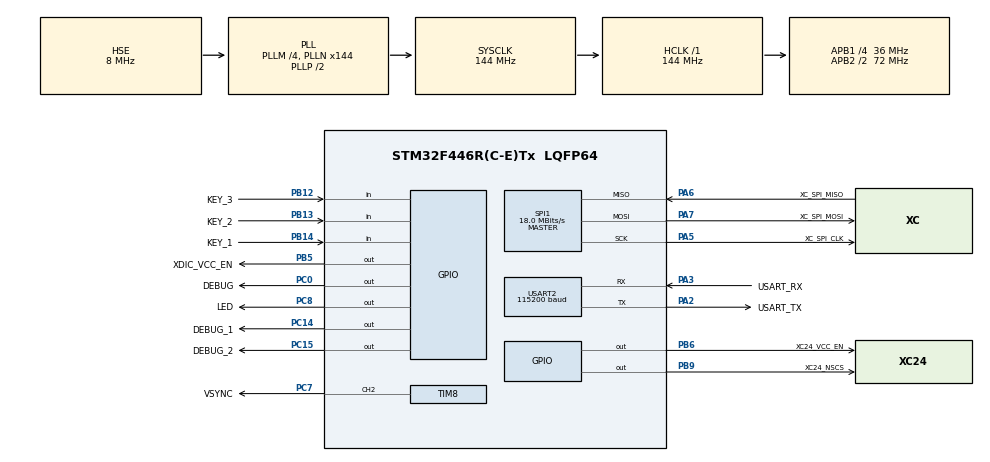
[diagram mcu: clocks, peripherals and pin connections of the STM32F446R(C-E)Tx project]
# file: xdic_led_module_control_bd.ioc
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Dma.Request0=USART2_TX
Dma.Request1=USART2_RX
Dma.USART2_RX.1.Direction=DMA_PERIPH_TO_MEMORY
Dma.USART2_RX.1.FIFOMode=DMA_FIFOMODE_DISABLE
Dma.USART2_RX.1.Instance=DMA1_Stream5
Dma.USART2_RX.1.MemDataAlignment=DMA_MDATAALIGN_BYTE
Dma.USART2_RX.1.MemInc=DMA_MINC_ENABLE
Dma.USART2_RX.1.Mode=DMA_NORMAL
Dma.USART2_RX.1.PeriphDataAlignment=DMA_PDATAALIGN_BYTE
Dma.USART2_RX.1.PeriphInc=DMA_PINC_DISABLE
Dma.USART2_RX.1.Priority=DMA_PRIORITY_LOW
Dma.USART2_TX.0.Direction=DMA_MEMORY_TO_PERIPH
Dma.USART2_TX.0.FIFOMode=DMA_FIFOMODE_DISABLE
Dma.USART2_TX.0.Instance=DMA1_Stream6
Dma.USART2_TX.0.MemDataAlignment=DMA_MDATAALIGN_BYTE
Dma.USART2_TX.0.MemInc=DMA_MINC_ENABLE
Dma.USART2_TX.0.Mode=DMA_NORMAL
Dma.USART2_TX.0.PeriphDataAlignment=DMA_PDATAALIGN_BYTE
Dma.USART2_TX.0.PeriphInc=DMA_PINC_DISABLE
Dma.USART2_TX.0.Priority=DMA_PRIORITY_LOW
Mcu.Family=STM32F4
Mcu.Name=STM32F446R(C-E)Tx
Mcu.Package=LQFP64
NVIC.DMA1_Stream5_IRQn=true\:0\:0\:false\:false\:true\:false\:true\:true
NVIC.DMA1_Stream6_IRQn=true\:0\:0\:false\:false\:true\:false\:true\:true
NVIC.PriorityGroup=NVIC_PRIORITYGROUP_4
NVIC.TIM8_UP_TIM13_IRQn=true\:0\:0\:false\:false\:true\:true\:true\:true
NVIC.USART2_IRQn=true\:1\:0\:true\:false\:true\:true\:true\:true
PA13.GPIO_Label=TMS
PA13.Mode=Serial_Wire
PA13.Signal=SYS_JTMS-SWDIO
PA14.GPIO_Label=TCK
PA14.Mode=Serial_Wire
PA14.Signal=SYS_JTCK-SWCLK
PA2.GPIO_Label=USART_TX
PA2.Mode=Asynchronous
PA2.Signal=USART2_TX
PA3.GPIO_Label=USART_RX
PA3.Mode=Asynchronous
PA3.Signal=USART2_RX
PA5.GPIO_Label=XC_SPI_CLK
PA5.Mode=Full_Duplex_Master
PA5.Signal=SPI1_SCK
PA6.GPIO_Label=XC_SPI_MISO
PA6.Mode=Full_Duplex_Master
PA6.Signal=SPI1_MISO
PA7.GPIO_Label=XC_SPI_MOSI
PA7.Mode=Full_Duplex_Master
PA7.Signal=SPI1_MOSI
PB12.GPIO_Label=KEY_3
PB12.Signal=GPIO_Input
PB13.GPIO_Label=KEY_2
PB13.Signal=GPIO_Input
PB14.GPIO_Label=KEY_1
PB14.Signal=GPIO_Input
PB5.GPIO_Label=XDIC_VCC_EN
PB5.GPIO_Speed=GPIO_SPEED_FREQ_VERY_HIGH
PB5.PinState=GPIO_PIN_SET
PB5.Signal=GPIO_Output
PB6.GPIO_Label=XC24_VCC_EN
PB6.Signal=GPIO_Output
PB9.GPIO_Label=XC24_NSCS
PB9.GPIO_Speed=GPIO_SPEED_FREQ_VERY_HIGH
PB9.Signal=GPIO_Output
PC0.GPIO_Label=DEBUG
PC0.Signal=GPIO_Output
PC14-OSC32_IN.GPIO_Label=DEBUG_1
PC14-OSC32_IN.Signal=GPIO_Output
PC15-OSC32_OUT.GPIO_Label=DEBUG_2
PC15-OSC32_OUT.Signal=GPIO_Output
PC7.GPIO_Label=VSYNC
PC7.Signal=S_TIM8_CH2
PC8.GPIO_Label=LED
PC8.PinState=GPIO_PIN_SET
PC8.Signal=GPIO_Output
PH0-OSC_IN.Mode=HSE-External-Oscillator
PH0-OSC_IN.Signal=RCC_OSC_IN
PH1-OSC_OUT.Mode=HSE-External-Oscillator
PH1-OSC_OUT.Signal=RCC_OSC_OUT
ProjectManager.HeapSize=0x200
ProjectManager.StackSize=0x800
ProjectManager.TargetToolchain=EWARM V8.32
RCC.48MHZClocksFreq_Value=84000000
RCC.AHBFreq_Value=144000000
RCC.APB1CLKDivider=RCC_HCLK_DIV4
RCC.APB1Freq_Value=36000000
RCC.APB1TimFreq_Value=72000000
RCC.APB2CLKDivider=RCC_HCLK_DIV2
RCC.APB2Freq_Value=72000000
RCC.APB2TimFreq_Value=144000000
RCC.CortexFreq_Value=144000000
RCC.FLatency-AdvancedSettings=FLASH_LATENCY_4
RCC.HCLKFreq_Value=144000000
RCC.HSE_VALUE=8000000
RCC.HSI_VALUE=16000000
RCC.PLLI2SM=8
RCC.PLLI2SN=400
RCC.PLLI2SR=5
RCC.PLLM=4
RCC.PLLN=144
RCC.PLLSourceVirtual=RCC_PLLSOURCE_HSE
RCC.RCC_MCO1Source=RCC_MCO1SOURCE_PLLCLK
RCC.RCC_MCO2Source=RCC_MCO2SOURCE_PLLI2SCLK
RCC.RCC_MCODiv2=RCC_MCODIV_5
RCC.SYSCLKFreq_VALUE=144000000
RCC.SYSCLKSource=RCC_SYSCLKSOURCE_PLLCLK
RCC.USBFreq_Value=144000000
RCC.VCOOutputFreq_Value=288000000
SH.S_TIM8_CH2.0=TIM8_CH2,PWM Generation2 CH2
SPI1.BaudRatePrescaler=SPI_BAUDRATEPRESCALER_4
SPI1.CLKPhase=SPI_PHASE_2EDGE
SPI1.CalculateBaudRate=18.0 MBits/s
SPI1.DataSize=SPI_DATASIZE_16BIT
SPI1.Direction=SPI_DIRECTION_2LINES
SPI1.Mode=SPI_MODE_MASTER
SPI1.VirtualType=VM_MASTER
TIM12.AutoReloadPreload=TIM_AUTORELOAD_PRELOAD_ENABLE
TIM12.ClockDivision=TIM_CLOCKDIVISION_DIV1
TIM12.Period=65535
TIM12.Prescaler=71
TIM8.AutomaticOutput=TIM_AUTOMATICOUTPUT_ENABLE
TIM8.Channel-PWM\ Generation2\ CH2=TIM_CHANNEL_2
TIM8.Period=39999
TIM8.Prescaler=29
TIM8.Pulse-PWM\ Generation2\ CH2=500
USART2.BaudRate=115200
USART2.VirtualMode=VM_ASYNC
VP_TIM12_VS_ClockSourceINT.Mode=Internal
VP_TIM8_VS_ClockSourceINT.Mode=Internal
board=NUCLEO-F446RE

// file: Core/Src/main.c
/* USER CODE BEGIN Header */
/**
  ******************************************************************************
  * @file           : main.c
  * @brief          : Main program body
  ******************************************************************************
  * @attention
  *
  * <h2><center>&copy; Copyright (c) 2021 STMicroelectronics.
  * All rights reserved.</center></h2>
  *
  * This software component is licensed by ST under Ultimate Liberty license
  * SLA0044, the "License"; You may not use this file except in compliance with
  * the License. You may obtain a copy of the License at:
  *                             www.st.com/SLA0044
  *
  ******************************************************************************
  */
#define __XDIC_MAIN_C__
#include <stdint.h>
/* USER CODE END Header */
#include "main.h"

/* USER CODE BEGIN Includes */
#include "config.h"
#include "xdic.h"
#include "xc24.h"
#include "vsync_task.h"
/* USER CODE END Includes */

/* USER CODE BEGIN PD */

#define CLI_KEY_BACK        (0x08U)
#define CLI_KEY_DEL         (0x7FU)
#define CLI_KEY_ENTER       (0x0DU)
#define CLI_KEY_ESC         (0x1BU)
#define CLI_KEY_LEFT        (0x44U)
#define CLI_KEY_RIGHT       (0x43U)
#define CLI_KEY_UP          (0x41U)
#define CLI_KEY_DOWN        (0x42U)
#define CLI_KEY_HOME        (0x31U)
#define CLI_KEY_END         (0x34U)

#define PRINT_BUFF_SIZE     256U
#define RX_BUFF_SIZE        256U // must be 2^n
#define RX_PACKET_SIZE      32U  // must be 2^n

#define RX_TIMEOUT_MS       20U

#define VA_GENERIC(_1, _2, _3, _4, _5, _6,x, ...) x
#define Command_Param_is_(a, b, ...)  (sscanf(str_in, a b, ##__VA_ARGS__)==VA_GENERIC(__VA_ARGS__, 6, 5, 4, 3, 2, 1))
#define Command_is_(x)                (strncmp(str_in, x, strlen(x)) == 0)

#define FATAL_INVALID_INPUT(val)      print(LOG_PC, "\r\nFunction[%s] invalid input (%u)", __func__, (val))

typedef enum tag_KEY_LIST
{
    KEY_1 = 0U,
    KEY_2,
    KEY_3,
    KEY_MAX,
} key_list_t;

/* USER CODE END PD */

/* USER CODE BEGIN PV */

typedef struct tag_RX_PACKET
{
    uint8_t length;
    char buffer[RX_PACKET_SIZE];
} rx_packet_t;

typedef struct tag_RING_BUFFER
{
    uint16_t head;
    uint16_t tail;
    rx_packet_t buffer[RX_BUFF_SIZE];
  } ring_buffer_t;

static ring_buffer_t gt_ring_buffer;
static rx_packet_t gt_last_uart_rx;

typedef void (*func_t)(void);

typedef struct tag_KEY_INFO
{
    uint32_t now_state;
    uint32_t prev_state;
    uint8_t press_cnt;
    uint8_t odd_even;
    func_t function[2];
} key_info_t;

static LOG_LV_T gt_log_lv = LOG_PC;

static uint8_t gn_uart_rx_timeout;

GPIO_TypeDef* key_gpio_port[KEY_MAX] = { KEY_1_GPIO_Port, KEY_2_GPIO_Port, KEY_3_GPIO_Port };
const uint32_t key_gpio_pin[KEY_MAX] = { KEY_1_Pin,       KEY_2_Pin,       KEY_3_Pin       };
static key_info_t gt_key_info[KEY_MAX];
static uint8_t gn_key_task_tick;
static const char* const gp_msg_prompt = "\n\rJIG> \0";
static const char* const gp_msg_what = "\n\r    What?";
/* USER CODE END PV */

void SystemClock_Config(void);
static void MX_GPIO_Init(void);
static void MX_DMA_Init(void);
static void MX_USART2_UART_Init(void);
static void MX_TIM12_Init(void);
static void MX_SPI1_Init(void);
static void MX_TIM8_Init(void);
/* USER CODE BEGIN PFP */
static void Uart_Task(void);
static void Key_Task(void);
static void Key_Init(void);
/* USER CODE END PFP */

/* USER CODE BEGIN 0 */

void us_delay(uint16_t us_delay)
{
    LL_TIM_EnableCounter(TIM12);
    while(LL_TIM_GetCounter(TIM12) < us_delay)
    {
    }
    LL_TIM_DisableCounter(TIM12);
    LL_TIM_SetCounter(TIM12, 0U);
}

void sys_tick_handler(void)
{
    if (gn_xc_spi_timeout)
    {
        --gn_xc_spi_timeout;
    }
    if (gn_uart_rx_timeout)
    {
        --gn_uart_rx_timeout;
    }
    if (gn_key_task_tick)
    {
        --gn_key_task_tick;
    }
}

void print(LOG_LV_T log_lv, const char *fmt, ...)
{
    if (log_lv >= gt_log_lv)
    {
        int len = 0;
        char msg_buffer[PRINT_BUFF_SIZE] = { 0 };

        if (log_lv > gt_log_lv)
        {
            char temp_buffer[PRINT_BUFF_SIZE] = { 0 };
            snprintf(temp_buffer, PRINT_BUFF_SIZE - 1U, "%s%s%s", ANSI_FONT_RED, fmt, ANSI_FONT_NONE);
            fmt = temp_buffer;
        }

        va_list ap;
        va_start(ap, fmt);
        len = vsnprintf(msg_buffer, (PRINT_BUFF_SIZE - 1U), fmt, ap);
        va_end(ap);

        for (int i = 0 ; i < len ; ++i)
        {
            /* Loop until the end of transmission */
            while (RESET == LL_USART_IsActiveFlag_TXE(USART2));
            /* Echo received character on TX */
            LL_USART_TransmitData8(USART2, (uint8_t)msg_buffer[i]);
        }
    }
}

void Comm_Init(void)
{
    print(LOG_PC, "\n\r--------------------------------------");
    print(LOG_PC, "\n\r   [GT LED Module Control BD]");
    print(LOG_PC, "\n\r--------------------------------------");
    print(LOG_PC, "\n\r - Author: xxx@glbltech.com");
    print(LOG_PC, "\n\r - Build : %s", __DATE__);
    print(LOG_PC, "\n\r--------------------------------------\r\n");
    print(LOG_PC, "%s", gp_msg_prompt);
}

void Comm_Help(void)
{
    print(LOG_PC, "\n\r    help, ? - Show this help message.");
    print(LOG_PC, "\n\r    reset   - Reset the system.\r\n");

    print(LOG_PC, "\n\r    blk     - Set block LD value.");
    print(LOG_PC, "\n\r              Usage: blk <block_num (0: All, 1~32: each)> <ld_value (0 ~ 4095)>)\r\n");

    print(LOG_PC, "\n\r    current - Set max current, ANA will be updated as current automatically.");
    print(LOG_PC, "\n\r              Usage: current <value (0 ~ 128)>\r\n");

    print(LOG_PC, "\n\r    pattern - Set LED pattern.");
    print(LOG_PC, "\n\r              Usage: pattern <pattern_num (0 ~ 3)>\r\n");
    print(LOG_PC, "%s", gp_msg_prompt);
}

__STATIC_INLINE void UART_PutChar(uint8_t data)
{
    /* Echo received character on TX */
    LL_USART_TransmitData8(USART2, (uint8_t)data);
    /* Loop until the end of transmission */
    while (RESET == LL_USART_IsActiveFlag_TXE(USART2));
}

void comm_rx_push(uint8_t rx)
{
    UART_PutChar(rx); /* echo back */

    switch(rx)
    {
        case '\n':
        case '\r':
        {
            if(gt_ring_buffer.buffer[gt_ring_buffer.head].length < (RX_PACKET_SIZE - 1))
            {
                gt_ring_buffer.buffer[gt_ring_buffer.head].buffer[gt_ring_buffer.buffer[gt_ring_buffer.head].length] = 0;
            }
            else
            {
                gt_ring_buffer.buffer[gt_ring_buffer.head].buffer[(RX_PACKET_SIZE - 1)] = 0;
            }
            memcpy(gt_last_uart_rx.buffer, gt_ring_buffer.buffer[gt_ring_buffer.head].buffer, sizeof(gt_ring_buffer.buffer[gt_ring_buffer.head].buffer));
            gt_last_uart_rx.length = gt_ring_buffer.buffer[gt_ring_buffer.head].length;

            ++gt_ring_buffer.head;
            if(gt_ring_buffer.head > (RX_BUFF_SIZE -1))
            {
                gt_ring_buffer.head = 0;
            }
            break;
        }
        case CLI_KEY_BACK:
        case CLI_KEY_DEL:
        {
            if(gt_ring_buffer.buffer[gt_ring_buffer.head].length)
            {
                //UART_PutChar(CLI_KEY_BACK);
                UART_PutChar(' ');
                UART_PutChar(CLI_KEY_BACK);

                --gt_ring_buffer.buffer[gt_ring_buffer.head].length;
            }
            break;
        }
        default:
        {
            if((rx == CLI_KEY_UP) && (gt_ring_buffer.buffer[gt_ring_buffer.head].length >= 2U) && (gt_ring_buffer.buffer[gt_ring_buffer.head].buffer[gt_ring_buffer.buffer[gt_ring_buffer.head].length - 2] == 0x1BU) && (gt_ring_buffer.buffer[gt_ring_buffer.head].buffer[gt_ring_buffer.buffer[gt_ring_buffer.head].length - 1] == 0x5BU))
            {
                UART_PutChar('\n');
                //UART_PutChar('\r');
                memcpy(gt_ring_buffer.buffer[gt_ring_buffer.head].buffer, gt_last_uart_rx.buffer, sizeof(gt_last_uart_rx.buffer));
                gt_ring_buffer.buffer[gt_ring_buffer.head].length = gt_last_uart_rx.length;
                for (uint8_t i = 0; i < gt_ring_buffer.buffer[gt_ring_buffer.head].length; ++i)
                {
                    UART_PutChar(gt_ring_buffer.buffer[gt_ring_buffer.head].buffer[i]);
                }
            }
            else
            {
                if(gt_ring_buffer.buffer[gt_ring_buffer.head].length < (RX_PACKET_SIZE - 1U))
                {
                    gt_ring_buffer.buffer[gt_ring_buffer.head].buffer[gt_ring_buffer.buffer[gt_ring_buffer.head].length] = rx;
                    ++gt_ring_buffer.buffer[gt_ring_buffer.head].length;
                }
            }
            break;
        }
    }
}

static uint8_t comm_get_rx_packet(rx_packet_t* p_packet)
{
    uint8_t ret = 0U;

    if (gt_ring_buffer.head != gt_ring_buffer.tail)
    {
        *p_packet = *(rx_packet_t*)(gt_ring_buffer.buffer + gt_ring_buffer.tail);

        ++gt_ring_buffer.tail;
        if(gt_ring_buffer.tail > (RX_BUFF_SIZE -1))
        {
            gt_ring_buffer.tail = 0;
        }

        ret = 1;
    }

    return ret;
}

static void Uart_Task(void)
{
    rx_packet_t* p_packet = (rx_packet_t*)(gt_ring_buffer.buffer + gt_ring_buffer.tail);

    if (comm_get_rx_packet(p_packet))
    {
        char str_in[RX_PACKET_SIZE + 1U] = {0, };
        uint32_t u32_recv_param[6] = {0, };
        //double lf_recv_param[6] = {0, };

        memcpy(str_in, p_packet->buffer, p_packet->length);
        p_packet->length = 0U;

        if(Command_is_("help") || Command_is_("?"))
        {
            Comm_Help();
            print(LOG_PC, "%s", gp_msg_prompt);
        }
        else if(Command_Param_is_("blk", "%u %u", &u32_recv_param[0], &u32_recv_param[1]))
        {
            if (u32_recv_param[0] <= TOTAL_BLOCK_SIZE)
            {
                uint8_t led_pat = LED_Get_Pattern();
                if (PATTERN_NONE == led_pat)
                {
                    LED_BLK_Set_LD((uint8_t)u32_recv_param[0], (uint16_t)u32_recv_param[1]);
                }
                else
                {
                    print(LOG_PC, "\r\n    This command is valid on pattern none");

                }
            }
            else
            {
                FATAL_INVALID_INPUT(u32_recv_param[0]);
            }
            print(LOG_PC, "%s", gp_msg_prompt);
        }
        else if(Command_Param_is_("current", "%u", &u32_recv_param[0]))
        {
            if (u32_recv_param[0] <= 128U)
            {
                LED_Current_Select((float)u32_recv_param[0]);
            }
            else
            {
                FATAL_INVALID_INPUT(u32_recv_param[0]);
            }
            print(LOG_PC, "%s", gp_msg_prompt);
        }
        else if(Command_Param_is_("pattern", "%u", &u32_recv_param[0]))
        {
            if (u32_recv_param[0] < PATTERN_MAX)
            {
                LED_Change_Pattern((uint8_t)u32_recv_param[0]);
            }
            else
            {
                FATAL_INVALID_INPUT(u32_recv_param[0]);
            }
            print(LOG_PC, "%s", gp_msg_prompt);
        }
        else if(!(strcmp(str_in, "reset")))
        {
            NVIC_SystemReset();
        }
        else
        {
            print(LOG_PC, "%s", gp_msg_what);
            print(LOG_PC, "%s", gp_msg_prompt);
        }
    }
}

static void Key_Init(void)
{
    for (key_list_t key_list = KEY_1 ; key_list < KEY_MAX ; ++key_list)
    {
        gt_key_info[key_list].now_state = LL_GPIO_IsInputPinSet(key_gpio_port[key_list], key_gpio_pin[key_list]);
        gt_key_info[key_list].prev_state = gt_key_info[key_list].now_state;
        gt_key_info[key_list].press_cnt = 0U;
        gt_key_info[key_list].odd_even = 0U;
    }

    gt_key_info[KEY_1].function[0] = LED_Change_Pattern_to_P1;
    gt_key_info[KEY_1].function[1] = LED_Change_Pattern_to_None;

    gt_key_info[KEY_2].function[0] = LED_Change_Pattern_to_P2;
    gt_key_info[KEY_2].function[1] = LED_Change_Pattern_to_None;

    gt_key_info[KEY_3].function[0] = LED_Change_Pattern_to_P3;
    gt_key_info[KEY_3].function[1] = LED_Change_Pattern_to_None;
}

static void Key_Task(void)
{
    if (gn_key_task_tick == 0U)
    {
        for (key_list_t key_list = KEY_1 ; key_list < KEY_MAX ; ++key_list)
        {
            gt_key_info[key_list].now_state = LL_GPIO_IsInputPinSet(key_gpio_port[key_list], key_gpio_pin[key_list]);

            if (gt_key_info[key_list].now_state != gt_key_info[key_list].prev_state)
            {
                if (gt_key_info[key_list].now_state == 0U)
                {
                    print(LOG_PC, "\r\nKEY_%u Pressed !!", key_list + 1U);
                }
                else
                {
                    print(LOG_PC, "\r\nKEY_%u Released !!", key_list + 1U);
                    if (gt_key_info[key_list].press_cnt >= 10U) // 100ms at least
                    {
                        print(LOG_PC, "\r\nKEY_%u Action !!", key_list + 1U);
                        if (gt_key_info[key_list].function[gt_key_info[key_list].odd_even] != NULL)
                        {
                            gt_key_info[key_list].function[gt_key_info[key_list].odd_even]();
                        }
                        gt_key_info[key_list].odd_even ^= 1U;
                    }
                    gt_key_info[key_list].press_cnt = 0U;
                }
                gt_key_info[key_list].prev_state = gt_key_info[key_list].now_state;
            }
            else
            {
                if (gt_key_info[key_list].now_state == 0U)
                {
                    ++gt_key_info[key_list].press_cnt;
                }
                else
                {
                    // Do nothing
                }
            }
        }
        gn_key_task_tick = 10U; // 10ms
    }
}
/* USER CODE END 0 */

int main(void)
{

  /* MCU Configuration--------------------------------------------------------*/

  /* Reset of all peripherals, Initializes the Flash interface and the Systick. */
  HAL_Init();

  /* Configure the system clock */
  SystemClock_Config();

  /* Initialize all configured peripherals */
  MX_GPIO_Init();
  MX_DMA_Init();
  MX_USART2_UART_Init();
  MX_TIM12_Init();
  MX_SPI1_Init();
  MX_TIM8_Init();
  /* USER CODE BEGIN 2 */

    Key_Init();
    Comm_Init();
    LED_System_Init();

    print(LOG_PC, "%s", gp_msg_prompt);

  /* USER CODE END 2 */

  /* Infinite loop */
  while (1)
  {

    /* USER CODE BEGIN 3 */
    Uart_Task();
    Key_Task();
    Vsync_Task();
  }
  /* USER CODE END 3 */
}

void SystemClock_Config(void)
{
  RCC_OscInitTypeDef RCC_OscInitStruct = {0};
  RCC_ClkInitTypeDef RCC_ClkInitStruct = {0};

  /** Configure the main internal regulator output voltage
  */
  __HAL_RCC_PWR_CLK_ENABLE();
  __HAL_PWR_VOLTAGESCALING_CONFIG(PWR_REGULATOR_VOLTAGE_SCALE1);

  /** Initializes the RCC Oscillators according to the specified parameters
  * in the RCC_OscInitTypeDef structure.
  */
  RCC_OscInitStruct.OscillatorType = RCC_OSCILLATORTYPE_HSE;
  RCC_OscInitStruct.HSEState = RCC_HSE_ON;
  RCC_OscInitStruct.PLL.PLLState = RCC_PLL_ON;
  RCC_OscInitStruct.PLL.PLLSource = RCC_PLLSOURCE_HSE;
  RCC_OscInitStruct.PLL.PLLM = 4;
  RCC_OscInitStruct.PLL.PLLN = 144;
  RCC_OscInitStruct.PLL.PLLP = RCC_PLLP_DIV2;
  RCC_OscInitStruct.PLL.PLLQ = 2;
  RCC_OscInitStruct.PLL.PLLR = 2;
  if (HAL_RCC_OscConfig(&RCC_OscInitStruct) != HAL_OK)
  {
    Error_Handler();
  }

  /** Initializes the CPU, AHB and APB buses clocks
  */
  RCC_ClkInitStruct.ClockType = RCC_CLOCKTYPE_HCLK|RCC_CLOCKTYPE_SYSCLK
                              |RCC_CLOCKTYPE_PCLK1|RCC_CLOCKTYPE_PCLK2;
  RCC_ClkInitStruct.SYSCLKSource = RCC_SYSCLKSOURCE_PLLCLK;
  RCC_ClkInitStruct.AHBCLKDivider = RCC_SYSCLK_DIV1;
  RCC_ClkInitStruct.APB1CLKDivider = RCC_HCLK_DIV4;
  RCC_ClkInitStruct.APB2CLKDivider = RCC_HCLK_DIV2;

  if (HAL_RCC_ClockConfig(&RCC_ClkInitStruct, FLASH_LATENCY_4) != HAL_OK)
  {
    Error_Handler();
  }
}

static void MX_SPI1_Init(void)
{

  LL_SPI_InitTypeDef SPI_InitStruct = {0};

  LL_GPIO_InitTypeDef GPIO_InitStruct = {0};

  /* Peripheral clock enable */
  LL_APB2_GRP1_EnableClock(LL_APB2_GRP1_PERIPH_SPI1);

  LL_AHB1_GRP1_EnableClock(LL_AHB1_GRP1_PERIPH_GPIOA);
  /**SPI1 GPIO Configuration
  PA5   ------> SPI1_SCK
  PA6   ------> SPI1_MISO
  PA7   ------> SPI1_MOSI
  */
  GPIO_InitStruct.Pin = XC_SPI_CLK_Pin|XC_SPI_MISO_Pin|XC_SPI_MOSI_Pin;
  GPIO_InitStruct.Mode = LL_GPIO_MODE_ALTERNATE;
  GPIO_InitStruct.Speed = LL_GPIO_SPEED_FREQ_VERY_HIGH;
  GPIO_InitStruct.OutputType = LL_GPIO_OUTPUT_PUSHPULL;
  GPIO_InitStruct.Pull = LL_GPIO_PULL_NO;
  GPIO_InitStruct.Alternate = LL_GPIO_AF_5;
  LL_GPIO_Init(GPIOA, &GPIO_InitStruct);

  /* SPI1 parameter configuration*/
  SPI_InitStruct.TransferDirection = LL_SPI_FULL_DUPLEX;
  SPI_InitStruct.Mode = LL_SPI_MODE_MASTER;
  SPI_InitStruct.DataWidth = LL_SPI_DATAWIDTH_16BIT;
  SPI_InitStruct.ClockPolarity = LL_SPI_POLARITY_LOW;
  SPI_InitStruct.ClockPhase = LL_SPI_PHASE_2EDGE;
  SPI_InitStruct.NSS = LL_SPI_NSS_SOFT;
  SPI_InitStruct.BaudRate = LL_SPI_BAUDRATEPRESCALER_DIV4;
  SPI_InitStruct.BitOrder = LL_SPI_MSB_FIRST;
  SPI_InitStruct.CRCCalculation = LL_SPI_CRCCALCULATION_DISABLE;
  SPI_InitStruct.CRCPoly = 10;
  LL_SPI_Init(SPI1, &SPI_InitStruct);
  LL_SPI_SetStandard(SPI1, LL_SPI_PROTOCOL_MOTOROLA);
  /* USER CODE BEGIN SPI1_Init 2 */

    //LL_SPI_Enable(SPI1);

  /* USER CODE END SPI1_Init 2 */

}

static void MX_TIM8_Init(void)
{

  LL_TIM_InitTypeDef TIM_InitStruct = {0};
  LL_TIM_OC_InitTypeDef TIM_OC_InitStruct = {0};
  LL_TIM_BDTR_InitTypeDef TIM_BDTRInitStruct = {0};

  LL_GPIO_InitTypeDef GPIO_InitStruct = {0};

  /* Peripheral clock enable */
  LL_APB2_GRP1_EnableClock(LL_APB2_GRP1_PERIPH_TIM8);

  /* TIM8 interrupt Init */
  NVIC_SetPriority(TIM8_UP_TIM13_IRQn, NVIC_EncodePriority(NVIC_GetPriorityGrouping(),0, 0));
  NVIC_EnableIRQ(TIM8_UP_TIM13_IRQn);

  TIM_InitStruct.Prescaler = 29;
  TIM_InitStruct.CounterMode = LL_TIM_COUNTERMODE_UP;
  TIM_InitStruct.Autoreload = 39999;
  TIM_InitStruct.ClockDivision = LL_TIM_CLOCKDIVISION_DIV1;
  TIM_InitStruct.RepetitionCounter = 0;
  LL_TIM_Init(TIM8, &TIM_InitStruct);
  LL_TIM_DisableARRPreload(TIM8);
  LL_TIM_SetClockSource(TIM8, LL_TIM_CLOCKSOURCE_INTERNAL);
  LL_TIM_OC_EnablePreload(TIM8, LL_TIM_CHANNEL_CH2);
  TIM_OC_InitStruct.OCMode = LL_TIM_OCMODE_PWM1;
  TIM_OC_InitStruct.OCState = LL_TIM_OCSTATE_DISABLE;
  TIM_OC_InitStruct.OCNState = LL_TIM_OCSTATE_DISABLE;
  TIM_OC_InitStruct.CompareValue = 500;
  TIM_OC_InitStruct.OCPolarity = LL_TIM_OCPOLARITY_HIGH;
  TIM_OC_InitStruct.OCNPolarity = LL_TIM_OCPOLARITY_HIGH;
  TIM_OC_InitStruct.OCIdleState = LL_TIM_OCIDLESTATE_LOW;
  TIM_OC_InitStruct.OCNIdleState = LL_TIM_OCIDLESTATE_LOW;
  LL_TIM_OC_Init(TIM8, LL_TIM_CHANNEL_CH2, &TIM_OC_InitStruct);
  LL_TIM_OC_DisableFast(TIM8, LL_TIM_CHANNEL_CH2);
  LL_TIM_SetTriggerOutput(TIM8, LL_TIM_TRGO_RESET);
  LL_TIM_DisableMasterSlaveMode(TIM8);
  TIM_BDTRInitStruct.OSSRState = LL_TIM_OSSR_DISABLE;
  TIM_BDTRInitStruct.OSSIState = LL_TIM_OSSI_DISABLE;
  TIM_BDTRInitStruct.LockLevel = LL_TIM_LOCKLEVEL_OFF;
  TIM_BDTRInitStruct.DeadTime = 0;
  TIM_BDTRInitStruct.BreakState = LL_TIM_BREAK_DISABLE;
  TIM_BDTRInitStruct.BreakPolarity = LL_TIM_BREAK_POLARITY_HIGH;
  TIM_BDTRInitStruct.AutomaticOutput = LL_TIM_AUTOMATICOUTPUT_ENABLE;
  LL_TIM_BDTR_Init(TIM8, &TIM_BDTRInitStruct);
  LL_AHB1_GRP1_EnableClock(LL_AHB1_GRP1_PERIPH_GPIOC);
  /**TIM8 GPIO Configuration
  PC7   ------> TIM8_CH2
  */
  GPIO_InitStruct.Pin = VSYNC_Pin;
  GPIO_InitStruct.Mode = LL_GPIO_MODE_ALTERNATE;
  GPIO_InitStruct.Speed = LL_GPIO_SPEED_FREQ_LOW;
  GPIO_InitStruct.OutputType = LL_GPIO_OUTPUT_PUSHPULL;
  GPIO_InitStruct.Pull = LL_GPIO_PULL_NO;
  GPIO_InitStruct.Alternate = LL_GPIO_AF_3;
  LL_GPIO_Init(VSYNC_GPIO_Port, &GPIO_InitStruct);

}

static void MX_TIM12_Init(void)
{

  LL_TIM_InitTypeDef TIM_InitStruct = {0};

  /* Peripheral clock enable */
  LL_APB1_GRP1_EnableClock(LL_APB1_GRP1_PERIPH_TIM12);

  TIM_InitStruct.Prescaler = 71;
  TIM_InitStruct.CounterMode = LL_TIM_COUNTERMODE_UP;
  TIM_InitStruct.Autoreload = 65535;
  TIM_InitStruct.ClockDivision = LL_TIM_CLOCKDIVISION_DIV1;
  LL_TIM_Init(TIM12, &TIM_InitStruct);
  LL_TIM_EnableARRPreload(TIM12);
  LL_TIM_SetClockSource(TIM12, LL_TIM_CLOCKSOURCE_INTERNAL);

}

static void MX_USART2_UART_Init(void)
{

  LL_USART_InitTypeDef USART_InitStruct = {0};

  LL_GPIO_InitTypeDef GPIO_InitStruct = {0};

  /* Peripheral clock enable */
  LL_APB1_GRP1_EnableClock(LL_APB1_GRP1_PERIPH_USART2);

  LL_AHB1_GRP1_EnableClock(LL_AHB1_GRP1_PERIPH_GPIOA);
  /**USART2 GPIO Configuration
  PA2   ------> USART2_TX
  PA3   ------> USART2_RX
  */
  GPIO_InitStruct.Pin = USART_TX_Pin|USART_RX_Pin;
  GPIO_InitStruct.Mode = LL_GPIO_MODE_ALTERNATE;
  GPIO_InitStruct.Speed = LL_GPIO_SPEED_FREQ_VERY_HIGH;
  GPIO_InitStruct.OutputType = LL_GPIO_OUTPUT_PUSHPULL;
  GPIO_InitStruct.Pull = LL_GPIO_PULL_NO;
  GPIO_InitStruct.Alternate = LL_GPIO_AF_7;
  LL_GPIO_Init(GPIOA, &GPIO_InitStruct);

  /* USART2 DMA Init */

  /* USART2_TX Init */
  LL_DMA_SetChannelSelection(DMA1, LL_DMA_STREAM_6, LL_DMA_CHANNEL_4);

  LL_DMA_SetDataTransferDirection(DMA1, LL_DMA_STREAM_6, LL_DMA_DIRECTION_MEMORY_TO_PERIPH);

  LL_DMA_SetStreamPriorityLevel(DMA1, LL_DMA_STREAM_6, LL_DMA_PRIORITY_LOW);

  LL_DMA_SetMode(DMA1, LL_DMA_STREAM_6, LL_DMA_MODE_NORMAL);

  LL_DMA_SetPeriphIncMode(DMA1, LL_DMA_STREAM_6, LL_DMA_PERIPH_NOINCREMENT);

  LL_DMA_SetMemoryIncMode(DMA1, LL_DMA_STREAM_6, LL_DMA_MEMORY_INCREMENT);

  LL_DMA_SetPeriphSize(DMA1, LL_DMA_STREAM_6, LL_DMA_PDATAALIGN_BYTE);

  LL_DMA_SetMemorySize(DMA1, LL_DMA_STREAM_6, LL_DMA_MDATAALIGN_BYTE);

  LL_DMA_DisableFifoMode(DMA1, LL_DMA_STREAM_6);

  /* USART2_RX Init */
  LL_DMA_SetChannelSelection(DMA1, LL_DMA_STREAM_5, LL_DMA_CHANNEL_4);

  LL_DMA_SetDataTransferDirection(DMA1, LL_DMA_STREAM_5, LL_DMA_DIRECTION_PERIPH_TO_MEMORY);

  LL_DMA_SetStreamPriorityLevel(DMA1, LL_DMA_STREAM_5, LL_DMA_PRIORITY_LOW);

  LL_DMA_SetMode(DMA1, LL_DMA_STREAM_5, LL_DMA_MODE_NORMAL);

  LL_DMA_SetPeriphIncMode(DMA1, LL_DMA_STREAM_5, LL_DMA_PERIPH_NOINCREMENT);

  LL_DMA_SetMemoryIncMode(DMA1, LL_DMA_STREAM_5, LL_DMA_MEMORY_INCREMENT);

  LL_DMA_SetPeriphSize(DMA1, LL_DMA_STREAM_5, LL_DMA_PDATAALIGN_BYTE);

  LL_DMA_SetMemorySize(DMA1, LL_DMA_STREAM_5, LL_DMA_MDATAALIGN_BYTE);

  LL_DMA_DisableFifoMode(DMA1, LL_DMA_STREAM_5);

  /* USART2 interrupt Init */
  NVIC_SetPriority(USART2_IRQn, NVIC_EncodePriority(NVIC_GetPriorityGrouping(),1, 0));
  NVIC_EnableIRQ(USART2_IRQn);

  USART_InitStruct.BaudRate = 115200;
  USART_InitStruct.DataWidth = LL_USART_DATAWIDTH_8B;
  USART_InitStruct.StopBits = LL_USART_STOPBITS_1;
  USART_InitStruct.Parity = LL_USART_PARITY_NONE;
  USART_InitStruct.TransferDirection = LL_USART_DIRECTION_TX_RX;
  USART_InitStruct.HardwareFlowControl = LL_USART_HWCONTROL_NONE;
  USART_InitStruct.OverSampling = LL_USART_OVERSAMPLING_16;
  LL_USART_Init(USART2, &USART_InitStruct);
  LL_USART_ConfigAsyncMode(USART2);
  LL_USART_Enable(USART2);
  /* USER CODE BEGIN USART2_Init 2 */

    /* USART RX */
    LL_USART_EnableIT_RXNE(USART2);
    LL_USART_EnableIT_ERROR(USART2);

  /* USER CODE END USART2_Init 2 */

}

static void MX_DMA_Init(void)
{

  /* Init with LL driver */
  /* DMA controller clock enable */
  LL_AHB1_GRP1_EnableClock(LL_AHB1_GRP1_PERIPH_DMA1);

  /* DMA interrupt init */
  /* DMA1_Stream5_IRQn interrupt configuration */
  NVIC_SetPriority(DMA1_Stream5_IRQn, NVIC_EncodePriority(NVIC_GetPriorityGrouping(),0, 0));
  NVIC_EnableIRQ(DMA1_Stream5_IRQn);
  /* DMA1_Stream6_IRQn interrupt configuration */
  NVIC_SetPriority(DMA1_Stream6_IRQn, NVIC_EncodePriority(NVIC_GetPriorityGrouping(),0, 0));
  NVIC_EnableIRQ(DMA1_Stream6_IRQn);

}

static void MX_GPIO_Init(void)
{
  LL_GPIO_InitTypeDef GPIO_InitStruct = {0};

  /* GPIO Ports Clock Enable */
  LL_AHB1_GRP1_EnableClock(LL_AHB1_GRP1_PERIPH_GPIOC);
  LL_AHB1_GRP1_EnableClock(LL_AHB1_GRP1_PERIPH_GPIOH);
  LL_AHB1_GRP1_EnableClock(LL_AHB1_GRP1_PERIPH_GPIOA);
  LL_AHB1_GRP1_EnableClock(LL_AHB1_GRP1_PERIPH_GPIOB);
  LL_AHB1_GRP1_EnableClock(LL_AHB1_GRP1_PERIPH_GPIOD);

  /**/
  LL_GPIO_ResetOutputPin(GPIOC, DEBUG_1_Pin|DEBUG_2_Pin|DEBUG_Pin);

  /**/
  LL_GPIO_ResetOutputPin(GPIOB, XC24_VCC_EN_Pin|XC24_NSCS_Pin);

  /**/
  LL_GPIO_SetOutputPin(LED_GPIO_Port, LED_Pin);

  /**/
  LL_GPIO_SetOutputPin(XDIC_VCC_EN_GPIO_Port, XDIC_VCC_EN_Pin);

  /**/
  GPIO_InitStruct.Pin = LL_GPIO_PIN_13|LL_GPIO_PIN_1|LL_GPIO_PIN_2|LL_GPIO_PIN_3
                          |LL_GPIO_PIN_4|LL_GPIO_PIN_5|LL_GPIO_PIN_6|LL_GPIO_PIN_9
                          |LL_GPIO_PIN_10|LL_GPIO_PIN_11|LL_GPIO_PIN_12;
  GPIO_InitStruct.Mode = LL_GPIO_MODE_ANALOG;
  GPIO_InitStruct.Pull = LL_GPIO_PULL_NO;
  LL_GPIO_Init(GPIOC, &GPIO_InitStruct);

  /**/
  GPIO_InitStruct.Pin = DEBUG_1_Pin|DEBUG_2_Pin|DEBUG_Pin|LED_Pin;
  GPIO_InitStruct.Mode = LL_GPIO_MODE_OUTPUT;
  GPIO_InitStruct.Speed = LL_GPIO_SPEED_FREQ_LOW;
  GPIO_InitStruct.OutputType = LL_GPIO_OUTPUT_PUSHPULL;
  GPIO_InitStruct.Pull = LL_GPIO_PULL_NO;
  LL_GPIO_Init(GPIOC, &GPIO_InitStruct);

  /**/
  GPIO_InitStruct.Pin = LL_GPIO_PIN_0|LL_GPIO_PIN_1|LL_GPIO_PIN_4|LL_GPIO_PIN_8
                          |LL_GPIO_PIN_9|LL_GPIO_PIN_10|LL_GPIO_PIN_11|LL_GPIO_PIN_12
                          |LL_GPIO_PIN_15;
  GPIO_InitStruct.Mode = LL_GPIO_MODE_ANALOG;
  GPIO_InitStruct.Pull = LL_GPIO_PULL_NO;
  LL_GPIO_Init(GPIOA, &GPIO_InitStruct);

  /**/
  GPIO_InitStruct.Pin = LL_GPIO_PIN_0|LL_GPIO_PIN_1|LL_GPIO_PIN_2|LL_GPIO_PIN_10
                          |LL_GPIO_PIN_15|LL_GPIO_PIN_3|LL_GPIO_PIN_4|LL_GPIO_PIN_7
                          |LL_GPIO_PIN_8;
  GPIO_InitStruct.Mode = LL_GPIO_MODE_ANALOG;
  GPIO_InitStruct.Pull = LL_GPIO_PULL_NO;
  LL_GPIO_Init(GPIOB, &GPIO_InitStruct);

  /**/
  GPIO_InitStruct.Pin = KEY_3_Pin|KEY_2_Pin|KEY_1_Pin;
  GPIO_InitStruct.Mode = LL_GPIO_MODE_INPUT;
  GPIO_InitStruct.Pull = LL_GPIO_PULL_NO;
  LL_GPIO_Init(GPIOB, &GPIO_InitStruct);

  /**/
  GPIO_InitStruct.Pin = LL_GPIO_PIN_2;
  GPIO_InitStruct.Mode = LL_GPIO_MODE_ANALOG;
  GPIO_InitStruct.Pull = LL_GPIO_PULL_NO;
  LL_GPIO_Init(GPIOD, &GPIO_InitStruct);

  /**/
  GPIO_InitStruct.Pin = XDIC_VCC_EN_Pin|XC24_NSCS_Pin;
  GPIO_InitStruct.Mode = LL_GPIO_MODE_OUTPUT;
  GPIO_InitStruct.Speed = LL_GPIO_SPEED_FREQ_VERY_HIGH;
  GPIO_InitStruct.OutputType = LL_GPIO_OUTPUT_PUSHPULL;
  GPIO_InitStruct.Pull = LL_GPIO_PULL_NO;
  LL_GPIO_Init(GPIOB, &GPIO_InitStruct);

  /**/
  GPIO_InitStruct.Pin = XC24_VCC_EN_Pin;
  GPIO_InitStruct.Mode = LL_GPIO_MODE_OUTPUT;
  GPIO_InitStruct.Speed = LL_GPIO_SPEED_FREQ_LOW;
  GPIO_InitStruct.OutputType = LL_GPIO_OUTPUT_PUSHPULL;
  GPIO_InitStruct.Pull = LL_GPIO_PULL_NO;
  LL_GPIO_Init(XC24_VCC_EN_GPIO_Port, &GPIO_InitStruct);

  /* USER CODE BEGIN MX_GPIO_Init_2 */
    LL_GPIO_SetOutputPin(XC24_VCC_EN_GPIO_Port, XC24_VCC_EN_Pin);
  /* USER CODE END MX_GPIO_Init_2 */
}

void Error_Handler(void)
{
  __disable_irq();
  while (1)
  {
  }
}
